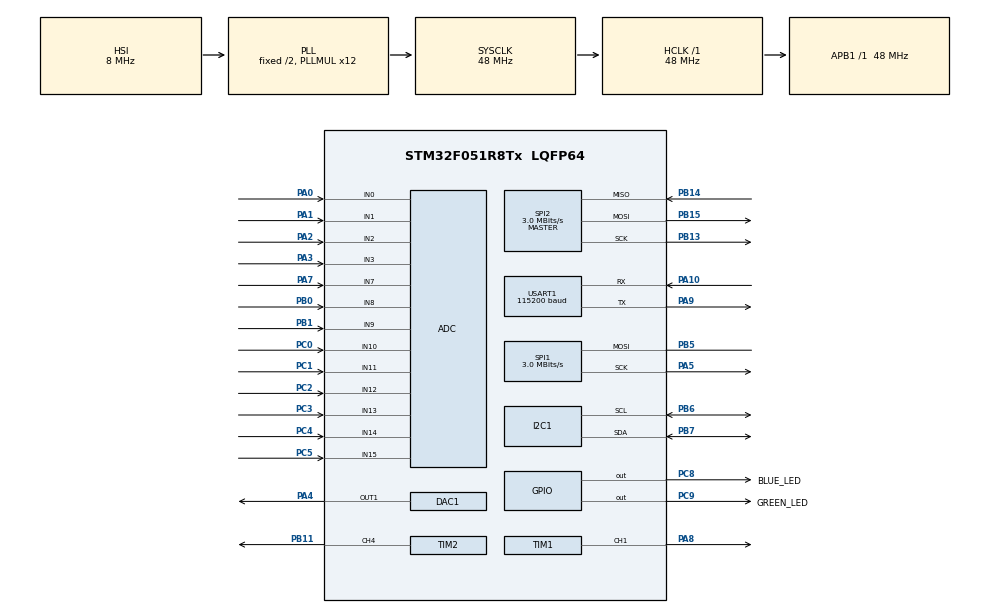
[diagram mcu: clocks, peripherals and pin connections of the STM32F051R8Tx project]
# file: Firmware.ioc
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DAC1.DAC_OutputBuffer=DAC_OUTPUTBUFFER_ENABLE
Dma.ADC.0.Direction=DMA_PERIPH_TO_MEMORY
Dma.ADC.0.Instance=DMA1_Channel1
Dma.ADC.0.MemDataAlignment=DMA_MDATAALIGN_HALFWORD
Dma.ADC.0.MemInc=DMA_MINC_ENABLE
Dma.ADC.0.Mode=DMA_NORMAL
Dma.ADC.0.PeriphDataAlignment=DMA_PDATAALIGN_HALFWORD
Dma.ADC.0.PeriphInc=DMA_PINC_DISABLE
Dma.ADC.0.Priority=DMA_PRIORITY_LOW
Dma.I2C1_RX.1.Direction=DMA_PERIPH_TO_MEMORY
Dma.I2C1_RX.1.Instance=DMA1_Channel3
Dma.I2C1_RX.1.MemDataAlignment=DMA_MDATAALIGN_BYTE
Dma.I2C1_RX.1.MemInc=DMA_MINC_ENABLE
Dma.I2C1_RX.1.Mode=DMA_NORMAL
Dma.I2C1_RX.1.PeriphDataAlignment=DMA_PDATAALIGN_BYTE
Dma.I2C1_RX.1.PeriphInc=DMA_PINC_DISABLE
Dma.I2C1_RX.1.Priority=DMA_PRIORITY_LOW
Dma.I2C1_TX.2.Direction=DMA_MEMORY_TO_PERIPH
Dma.I2C1_TX.2.Instance=DMA1_Channel2
Dma.I2C1_TX.2.MemDataAlignment=DMA_MDATAALIGN_BYTE
Dma.I2C1_TX.2.MemInc=DMA_MINC_ENABLE
Dma.I2C1_TX.2.Mode=DMA_NORMAL
Dma.I2C1_TX.2.PeriphDataAlignment=DMA_PDATAALIGN_BYTE
Dma.I2C1_TX.2.PeriphInc=DMA_PINC_DISABLE
Dma.I2C1_TX.2.Priority=DMA_PRIORITY_LOW
Dma.Request0=ADC
Dma.Request1=I2C1_RX
Dma.Request2=I2C1_TX
I2C1.I2C_Fall_Time=100
I2C1.I2C_Rise_Time=100
I2C1.Timing=0x00201D2B
Mcu.Family=STM32F0
Mcu.Name=STM32F051R8Tx
Mcu.Package=LQFP64
NVIC.DMA1_Channel1_IRQn=true\:0\:0\:false\:false\:true\:false\:true\:true
NVIC.DMA1_Channel2_3_IRQn=true\:0\:0\:false\:false\:true\:false\:true\:true
NVIC.TIM1_BRK_UP_TRG_COM_IRQn=true\:0\:0\:false\:false\:true\:true\:true\:true
NVIC.TIM1_CC_IRQn=true\:0\:0\:false\:false\:true\:true\:true\:true
NVIC.TIM2_IRQn=true\:0\:0\:false\:false\:true\:true\:true\:true
NVIC.USART1_IRQn=true\:0\:0\:false\:false\:true\:true\:true\:true
PA0.Mode=IN0
PA0.Signal=ADC_IN0
PA1.Mode=IN1
PA1.Signal=ADC_IN1
PA10.Mode=Asynchronous
PA10.Signal=USART1_RX
PA13.Mode=Serial_Wire
PA13.Signal=SYS_SWDIO
PA14.Mode=Serial_Wire
PA14.Signal=SYS_SWCLK
PA2.Mode=IN2
PA2.Signal=ADC_IN2
PA3.Mode=IN3
PA3.Signal=ADC_IN3
PA4.Signal=COMP_DAC11_group
PA5.Mode=Simplex_Bidirectional_Master
PA5.Signal=SPI1_SCK
PA6.Signal=SPI1_MISO
PA7.Mode=IN7
PA7.Signal=ADC_IN7
PA8.Signal=S_TIM1_CH1
PA9.Mode=Asynchronous
PA9.Signal=USART1_TX
PB0.Mode=IN8
PB0.Signal=ADC_IN8
PB1.Mode=IN9
PB1.Signal=ADC_IN9
PB11.Signal=S_TIM2_CH4
PB13.Mode=Full_Duplex_Master
PB13.Signal=SPI2_SCK
PB14.Mode=Full_Duplex_Master
PB14.Signal=SPI2_MISO
PB15.Mode=Full_Duplex_Master
PB15.Signal=SPI2_MOSI
PB5.Mode=Simplex_Bidirectional_Master
PB5.Signal=SPI1_MOSI
PB6.Mode=I2C
PB6.Signal=I2C1_SCL
PB7.Mode=I2C
PB7.Signal=I2C1_SDA
PC0.Mode=IN10
PC0.Signal=ADC_IN10
PC1.Mode=IN11
PC1.Signal=ADC_IN11
PC2.Mode=IN12
PC2.Signal=ADC_IN12
PC3.Mode=IN13
PC3.Signal=ADC_IN13
PC4.Mode=IN14
PC4.Signal=ADC_IN14
PC5.Mode=IN15
PC5.Signal=ADC_IN15
PC8.GPIO_Label=BLUE_LED
PC8.Signal=GPIO_Output
PC9.GPIO_Label=GREEN_LED
PC9.Signal=GPIO_Output
ProjectManager.HeapSize=0x200
ProjectManager.StackSize=0x400
ProjectManager.TargetToolchain=STM32CubeIDE
RCC.AHBFreq_Value=48000000
RCC.APB1Freq_Value=48000000
RCC.APB1TimFreq_Value=48000000
RCC.HCLKFreq_Value=48000000
RCC.PLLMUL=RCC_PLL_MUL12
RCC.SYSCLKFreq_VALUE=48000000
RCC.SYSCLKSource=RCC_SYSCLKSOURCE_PLLCLK
RCC.Usart1ClockSelection=RCC_USART1CLKSOURCE_HSI
SH.COMP_DAC11_group.0=DAC1_OUT1,DAC_OUT1
SH.S_TIM1_CH1.0=TIM1_CH1,Output Compare1 CH1
SH.S_TIM2_CH4.0=TIM2_CH4,Output Compare4 CH4
SPI1.BaudRatePrescaler=SPI_BAUDRATEPRESCALER_16
SPI1.CalculateBaudRate=3.0 MBits/s
SPI1.DataSize=SPI_DATASIZE_16BIT
SPI1.Direction=SPI_DIRECTION_1LINE
SPI1.Mode=SPI_MODE_MASTER
SPI1.VirtualType=VM_MASTER
SPI2.BaudRatePrescaler=SPI_BAUDRATEPRESCALER_16
SPI2.CalculateBaudRate=3.0 MBits/s
SPI2.DataSize=SPI_DATASIZE_16BIT
SPI2.Direction=SPI_DIRECTION_2LINES
SPI2.Mode=SPI_MODE_MASTER
SPI2.VirtualType=VM_MASTER
TIM1.AutoReloadPreload=TIM_AUTORELOAD_PRELOAD_ENABLE
TIM1.Channel-Output\ Compare1\ CH1=TIM_CHANNEL_1
TIM1.OCMode_1=TIM_OCMODE_TOGGLE
TIM1.Period=24000
TIM1.Prescaler=100 - 1
TIM1.Pulse-Output\ Compare1\ CH1=12000 - 1
TIM2.AutoReloadPreload=TIM_AUTORELOAD_PRELOAD_ENABLE
TIM2.Channel-Output\ Compare4\ CH4=TIM_CHANNEL_4
TIM2.OCMode_4=TIM_OCMODE_TOGGLE
TIM2.Period=30000 - 1
TIM2.Prescaler=100 - 1
TIM2.Pulse-Output\ Compare4\ CH4=6000 - 1
USART1.BaudRate=115200
USART1.VirtualMode-Asynchronous=VM_ASYNC
VP_TIM1_VS_ClockSourceINT.Mode=Internal
VP_TIM2_VS_ClockSourceINT.Mode=Internal
board=custom

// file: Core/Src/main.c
/* USER CODE BEGIN Header */
/**
  ******************************************************************************
  * @file           : main.c
  * @brief          : Main program body
  ******************************************************************************
  * @attention
  *
  * Copyright (c) 2022 STMicroelectronics.
  * All rights reserved.
  *
  * This software is licensed under terms that can be found in the LICENSE file
  * in the root directory of this software component.
  * If no LICENSE file comes with this software, it is provided AS-IS.
  *
  ******************************************************************************
  */
/* USER CODE END Header */
#include "main.h"

ADC_HandleTypeDef hadc;
DMA_HandleTypeDef hdma_adc;

DAC_HandleTypeDef hdac1;

I2C_HandleTypeDef hi2c1;
DMA_HandleTypeDef hdma_i2c1_rx;
DMA_HandleTypeDef hdma_i2c1_tx;

SPI_HandleTypeDef hspi1;
SPI_HandleTypeDef hspi2;

TIM_HandleTypeDef htim1;
TIM_HandleTypeDef htim2;

UART_HandleTypeDef huart1;

/* USER CODE BEGIN PV */
UART_WakeUpTypeDef WakeUpSelection;
uint8_t Rx_data[1];  //  creating a buffer of 1 bytes

/* USER CODE END PV */

void SystemClock_Config(void);
static void MX_GPIO_Init(void);
static void MX_DMA_Init(void);
static void MX_SPI2_Init(void);
static void MX_TIM1_Init(void);
static void MX_TIM2_Init(void);
static void MX_SPI1_Init(void);
static void MX_USART1_UART_Init(void);
static void MX_DAC1_Init(void);
static void MX_ADC_Init(void);
static void MX_I2C1_Init(void);

int main(void)
{

  /* MCU Configuration--------------------------------------------------------*/

  /* Reset of all peripherals, Initializes the Flash interface and the Systick. */
  HAL_Init();

  /* Configure the system clock */
  SystemClock_Config();

  /* Initialize all configured peripherals */
  MX_GPIO_Init();
  MX_DMA_Init();
  MX_SPI2_Init();
  MX_TIM1_Init();
  MX_TIM2_Init();
  MX_SPI1_Init();
  MX_USART1_UART_Init();
  MX_DAC1_Init();
  MX_ADC_Init();
  MX_I2C1_Init();
  /* USER CODE BEGIN 2 */
    HAL_DAC_Start(&hdac1, DAC_CHANNEL_1);

    /* Start Timers with OC & Interrupt */
    HAL_TIM_OC_Start_IT(&htim1, TIM_CHANNEL_1);
    HAL_TIM_OC_Start_IT(&htim2, TIM_CHANNEL_4);

    while (__HAL_UART_GET_FLAG(&huart1, USART_ISR_BUSY) == SET);
    while (__HAL_UART_GET_FLAG(&huart1, USART_ISR_REACK) == RESET);

    WakeUpSelection.WakeUpEvent = UART_WAKEUP_ON_ADDRESS;
    WakeUpSelection.AddressLength = UART_ADDRESS_DETECT_7B;
    WakeUpSelection.Address = 0x23; // send "£"

    if (HAL_UARTEx_StopModeWakeUpSourceConfig(&huart1, WakeUpSelection) != HAL_OK) {
        Error_Handler();
    }

    /* Enable the LPUART Wake UP from stop mode Interrupt */
    __HAL_UART_ENABLE_IT(&huart1, UART_IT_WUF);

    /* enable MCU wake-up by LPUART */
    HAL_UARTEx_EnableStopMode(&huart1);
  /* USER CODE END 2 */

  /* Infinite loop */
  /* USER CODE BEGIN WHILE */
    int counter = 0;
    uint8_t buf[13];
    while (1) {
        HAL_UART_Receive(&huart1, Rx_data, 1, 1000);
        if (Rx_data[0] == 's') { // should be "¶" in the future
            HAL_SuspendTick();
            HAL_PWR_EnterSTOPMode(PWR_LOWPOWERREGULATOR_ON, PWR_STOPENTRY_WFI);
            NVIC_SystemReset();
        }
        sprintf((char*)buf, "I am awake %d\r\n", counter);
        HAL_UART_Transmit(&huart1, buf, strlen((char*)buf), HAL_MAX_DELAY);
        counter++;
        if (counter > 99) {
        	counter = 0;
        }
    /* USER CODE END WHILE */

    }
}

void SystemClock_Config(void)
{
  RCC_OscInitTypeDef RCC_OscInitStruct = {0};
  RCC_ClkInitTypeDef RCC_ClkInitStruct = {0};
  RCC_PeriphCLKInitTypeDef PeriphClkInit = {0};

  /** Initializes the RCC Oscillators according to the specified parameters
  * in the RCC_OscInitTypeDef structure.
  */
  RCC_OscInitStruct.OscillatorType = RCC_OSCILLATORTYPE_HSI|RCC_OSCILLATORTYPE_HSI14;
  RCC_OscInitStruct.HSIState = RCC_HSI_ON;
  RCC_OscInitStruct.HSI14State = RCC_HSI14_ON;
  RCC_OscInitStruct.HSICalibrationValue = RCC_HSICALIBRATION_DEFAULT;
  RCC_OscInitStruct.HSI14CalibrationValue = 16;
  RCC_OscInitStruct.PLL.PLLState = RCC_PLL_ON;
  RCC_OscInitStruct.PLL.PLLSource = RCC_PLLSOURCE_HSI;
  RCC_OscInitStruct.PLL.PLLMUL = RCC_PLL_MUL12;
  RCC_OscInitStruct.PLL.PREDIV = RCC_PREDIV_DIV1;
  if (HAL_RCC_OscConfig(&RCC_OscInitStruct) != HAL_OK)
  {
    Error_Handler();
  }

  /** Initializes the CPU, AHB and APB buses clocks
  */
  RCC_ClkInitStruct.ClockType = RCC_CLOCKTYPE_HCLK|RCC_CLOCKTYPE_SYSCLK
                              |RCC_CLOCKTYPE_PCLK1;
  RCC_ClkInitStruct.SYSCLKSource = RCC_SYSCLKSOURCE_PLLCLK;
  RCC_ClkInitStruct.AHBCLKDivider = RCC_SYSCLK_DIV1;
  RCC_ClkInitStruct.APB1CLKDivider = RCC_HCLK_DIV1;

  if (HAL_RCC_ClockConfig(&RCC_ClkInitStruct, FLASH_LATENCY_1) != HAL_OK)
  {
    Error_Handler();
  }
  PeriphClkInit.PeriphClockSelection = RCC_PERIPHCLK_USART1|RCC_PERIPHCLK_I2C1;
  PeriphClkInit.Usart1ClockSelection = RCC_USART1CLKSOURCE_HSI;
  PeriphClkInit.I2c1ClockSelection = RCC_I2C1CLKSOURCE_HSI;
  if (HAL_RCCEx_PeriphCLKConfig(&PeriphClkInit) != HAL_OK)
  {
    Error_Handler();
  }
}

static void MX_ADC_Init(void)
{

  ADC_ChannelConfTypeDef sConfig = {0};

  /** Configure the global features of the ADC (Clock, Resolution, Data Alignment and number of conversion)
  */
  hadc.Instance = ADC1;
  hadc.Init.ClockPrescaler = ADC_CLOCK_ASYNC_DIV1;
  hadc.Init.Resolution = ADC_RESOLUTION_12B;
  hadc.Init.DataAlign = ADC_DATAALIGN_RIGHT;
  hadc.Init.ScanConvMode = ADC_SCAN_DIRECTION_FORWARD;
  hadc.Init.EOCSelection = ADC_EOC_SINGLE_CONV;
  hadc.Init.LowPowerAutoWait = DISABLE;
  hadc.Init.LowPowerAutoPowerOff = DISABLE;
  hadc.Init.ContinuousConvMode = DISABLE;
  hadc.Init.DiscontinuousConvMode = DISABLE;
  hadc.Init.ExternalTrigConv = ADC_SOFTWARE_START;
  hadc.Init.ExternalTrigConvEdge = ADC_EXTERNALTRIGCONVEDGE_NONE;
  hadc.Init.DMAContinuousRequests = DISABLE;
  hadc.Init.Overrun = ADC_OVR_DATA_PRESERVED;
  if (HAL_ADC_Init(&hadc) != HAL_OK)
  {
    Error_Handler();
  }

  /** Configure for the selected ADC regular channel to be converted.
  */
  sConfig.Channel = ADC_CHANNEL_0;
  sConfig.Rank = ADC_RANK_CHANNEL_NUMBER;
  sConfig.SamplingTime = ADC_SAMPLETIME_1CYCLE_5;
  if (HAL_ADC_ConfigChannel(&hadc, &sConfig) != HAL_OK)
  {
    Error_Handler();
  }

  /** Configure for the selected ADC regular channel to be converted.
  */
  sConfig.Channel = ADC_CHANNEL_1;
  if (HAL_ADC_ConfigChannel(&hadc, &sConfig) != HAL_OK)
  {
    Error_Handler();
  }

  /** Configure for the selected ADC regular channel to be converted.
  */
  sConfig.Channel = ADC_CHANNEL_2;
  if (HAL_ADC_ConfigChannel(&hadc, &sConfig) != HAL_OK)
  {
    Error_Handler();
  }

  /** Configure for the selected ADC regular channel to be converted.
  */
  sConfig.Channel = ADC_CHANNEL_3;
  if (HAL_ADC_ConfigChannel(&hadc, &sConfig) != HAL_OK)
  {
    Error_Handler();
  }

  /** Configure for the selected ADC regular channel to be converted.
  */
  sConfig.Channel = ADC_CHANNEL_7;
  if (HAL_ADC_ConfigChannel(&hadc, &sConfig) != HAL_OK)
  {
    Error_Handler();
  }

  /** Configure for the selected ADC regular channel to be converted.
  */
  sConfig.Channel = ADC_CHANNEL_8;
  if (HAL_ADC_ConfigChannel(&hadc, &sConfig) != HAL_OK)
  {
    Error_Handler();
  }

  /** Configure for the selected ADC regular channel to be converted.
  */
  sConfig.Channel = ADC_CHANNEL_9;
  if (HAL_ADC_ConfigChannel(&hadc, &sConfig) != HAL_OK)
  {
    Error_Handler();
  }

  /** Configure for the selected ADC regular channel to be converted.
  */
  sConfig.Channel = ADC_CHANNEL_10;
  if (HAL_ADC_ConfigChannel(&hadc, &sConfig) != HAL_OK)
  {
    Error_Handler();
  }

  /** Configure for the selected ADC regular channel to be converted.
  */
  sConfig.Channel = ADC_CHANNEL_11;
  if (HAL_ADC_ConfigChannel(&hadc, &sConfig) != HAL_OK)
  {
    Error_Handler();
  }

  /** Configure for the selected ADC regular channel to be converted.
  */
  sConfig.Channel = ADC_CHANNEL_12;
  if (HAL_ADC_ConfigChannel(&hadc, &sConfig) != HAL_OK)
  {
    Error_Handler();
  }

  /** Configure for the selected ADC regular channel to be converted.
  */
  sConfig.Channel = ADC_CHANNEL_13;
  if (HAL_ADC_ConfigChannel(&hadc, &sConfig) != HAL_OK)
  {
    Error_Handler();
  }

  /** Configure for the selected ADC regular channel to be converted.
  */
  sConfig.Channel = ADC_CHANNEL_14;
  if (HAL_ADC_ConfigChannel(&hadc, &sConfig) != HAL_OK)
  {
    Error_Handler();
  }

  /** Configure for the selected ADC regular channel to be converted.
  */
  sConfig.Channel = ADC_CHANNEL_15;
  if (HAL_ADC_ConfigChannel(&hadc, &sConfig) != HAL_OK)
  {
    Error_Handler();
  }

}

static void MX_DAC1_Init(void)
{

  DAC_ChannelConfTypeDef sConfig = {0};

  /** DAC Initialization
  */
  hdac1.Instance = DAC;
  if (HAL_DAC_Init(&hdac1) != HAL_OK)
  {
    Error_Handler();
  }

  /** DAC channel OUT1 config
  */
  sConfig.DAC_Trigger = DAC_TRIGGER_NONE;
  sConfig.DAC_OutputBuffer = DAC_OUTPUTBUFFER_ENABLE;
  if (HAL_DAC_ConfigChannel(&hdac1, &sConfig, DAC_CHANNEL_1) != HAL_OK)
  {
    Error_Handler();
  }

}

static void MX_I2C1_Init(void)
{

  hi2c1.Instance = I2C1;
  hi2c1.Init.Timing = 0x00201D2B;
  hi2c1.Init.OwnAddress1 = 0;
  hi2c1.Init.AddressingMode = I2C_ADDRESSINGMODE_7BIT;
  hi2c1.Init.DualAddressMode = I2C_DUALADDRESS_DISABLE;
  hi2c1.Init.OwnAddress2 = 0;
  hi2c1.Init.OwnAddress2Masks = I2C_OA2_NOMASK;
  hi2c1.Init.GeneralCallMode = I2C_GENERALCALL_DISABLE;
  hi2c1.Init.NoStretchMode = I2C_NOSTRETCH_DISABLE;
  if (HAL_I2C_Init(&hi2c1) != HAL_OK)
  {
    Error_Handler();
  }

  /** Configure Analogue filter
  */
  if (HAL_I2CEx_ConfigAnalogFilter(&hi2c1, I2C_ANALOGFILTER_ENABLE) != HAL_OK)
  {
    Error_Handler();
  }

  /** Configure Digital filter
  */
  if (HAL_I2CEx_ConfigDigitalFilter(&hi2c1, 0) != HAL_OK)
  {
    Error_Handler();
  }

}

static void MX_SPI1_Init(void)
{

  /* SPI1 parameter configuration*/
  hspi1.Instance = SPI1;
  hspi1.Init.Mode = SPI_MODE_MASTER;
  hspi1.Init.Direction = SPI_DIRECTION_1LINE;
  hspi1.Init.DataSize = SPI_DATASIZE_16BIT;
  hspi1.Init.CLKPolarity = SPI_POLARITY_LOW;
  hspi1.Init.CLKPhase = SPI_PHASE_1EDGE;
  hspi1.Init.NSS = SPI_NSS_SOFT;
  hspi1.Init.BaudRatePrescaler = SPI_BAUDRATEPRESCALER_16;
  hspi1.Init.FirstBit = SPI_FIRSTBIT_MSB;
  hspi1.Init.TIMode = SPI_TIMODE_DISABLE;
  hspi1.Init.CRCCalculation = SPI_CRCCALCULATION_DISABLE;
  hspi1.Init.CRCPolynomial = 7;
  hspi1.Init.CRCLength = SPI_CRC_LENGTH_DATASIZE;
  hspi1.Init.NSSPMode = SPI_NSS_PULSE_ENABLE;
  if (HAL_SPI_Init(&hspi1) != HAL_OK)
  {
    Error_Handler();
  }

}

static void MX_SPI2_Init(void)
{

  /* SPI2 parameter configuration*/
  hspi2.Instance = SPI2;
  hspi2.Init.Mode = SPI_MODE_MASTER;
  hspi2.Init.Direction = SPI_DIRECTION_2LINES;
  hspi2.Init.DataSize = SPI_DATASIZE_16BIT;
  hspi2.Init.CLKPolarity = SPI_POLARITY_LOW;
  hspi2.Init.CLKPhase = SPI_PHASE_1EDGE;
  hspi2.Init.NSS = SPI_NSS_SOFT;
  hspi2.Init.BaudRatePrescaler = SPI_BAUDRATEPRESCALER_16;
  hspi2.Init.FirstBit = SPI_FIRSTBIT_MSB;
  hspi2.Init.TIMode = SPI_TIMODE_DISABLE;
  hspi2.Init.CRCCalculation = SPI_CRCCALCULATION_DISABLE;
  hspi2.Init.CRCPolynomial = 7;
  hspi2.Init.CRCLength = SPI_CRC_LENGTH_DATASIZE;
  hspi2.Init.NSSPMode = SPI_NSS_PULSE_ENABLE;
  if (HAL_SPI_Init(&hspi2) != HAL_OK)
  {
    Error_Handler();
  }

}

static void MX_TIM1_Init(void)
{

  TIM_ClockConfigTypeDef sClockSourceConfig = {0};
  TIM_MasterConfigTypeDef sMasterConfig = {0};
  TIM_OC_InitTypeDef sConfigOC = {0};
  TIM_BreakDeadTimeConfigTypeDef sBreakDeadTimeConfig = {0};

  htim1.Instance = TIM1;
  htim1.Init.Prescaler = 100 - 1;
  htim1.Init.CounterMode = TIM_COUNTERMODE_UP;
  htim1.Init.Period = 24000;
  htim1.Init.ClockDivision = TIM_CLOCKDIVISION_DIV1;
  htim1.Init.RepetitionCounter = 0;
  htim1.Init.AutoReloadPreload = TIM_AUTORELOAD_PRELOAD_ENABLE;
  if (HAL_TIM_Base_Init(&htim1) != HAL_OK)
  {
    Error_Handler();
  }
  sClockSourceConfig.ClockSource = TIM_CLOCKSOURCE_INTERNAL;
  if (HAL_TIM_ConfigClockSource(&htim1, &sClockSourceConfig) != HAL_OK)
  {
    Error_Handler();
  }
  if (HAL_TIM_OC_Init(&htim1) != HAL_OK)
  {
    Error_Handler();
  }
  sMasterConfig.MasterOutputTrigger = TIM_TRGO_RESET;
  sMasterConfig.MasterSlaveMode = TIM_MASTERSLAVEMODE_DISABLE;
  if (HAL_TIMEx_MasterConfigSynchronization(&htim1, &sMasterConfig) != HAL_OK)
  {
    Error_Handler();
  }
  sConfigOC.OCMode = TIM_OCMODE_TOGGLE;
  sConfigOC.Pulse = 12000 - 1;
  sConfigOC.OCPolarity = TIM_OCPOLARITY_HIGH;
  sConfigOC.OCNPolarity = TIM_OCNPOLARITY_HIGH;
  sConfigOC.OCFastMode = TIM_OCFAST_DISABLE;
  sConfigOC.OCIdleState = TIM_OCIDLESTATE_RESET;
  sConfigOC.OCNIdleState = TIM_OCNIDLESTATE_RESET;
  if (HAL_TIM_OC_ConfigChannel(&htim1, &sConfigOC, TIM_CHANNEL_1) != HAL_OK)
  {
    Error_Handler();
  }
  sBreakDeadTimeConfig.OffStateRunMode = TIM_OSSR_DISABLE;
  sBreakDeadTimeConfig.OffStateIDLEMode = TIM_OSSI_DISABLE;
  sBreakDeadTimeConfig.LockLevel = TIM_LOCKLEVEL_OFF;
  sBreakDeadTimeConfig.DeadTime = 0;
  sBreakDeadTimeConfig.BreakState = TIM_BREAK_DISABLE;
  sBreakDeadTimeConfig.BreakPolarity = TIM_BREAKPOLARITY_HIGH;
  sBreakDeadTimeConfig.AutomaticOutput = TIM_AUTOMATICOUTPUT_DISABLE;
  if (HAL_TIMEx_ConfigBreakDeadTime(&htim1, &sBreakDeadTimeConfig) != HAL_OK)
  {
    Error_Handler();
  }
  HAL_TIM_MspPostInit(&htim1);

}

static void MX_TIM2_Init(void)
{

  TIM_ClockConfigTypeDef sClockSourceConfig = {0};
  TIM_MasterConfigTypeDef sMasterConfig = {0};
  TIM_OC_InitTypeDef sConfigOC = {0};

  htim2.Instance = TIM2;
  htim2.Init.Prescaler = 100 - 1;
  htim2.Init.CounterMode = TIM_COUNTERMODE_UP;
  htim2.Init.Period = 30000 - 1;
  htim2.Init.ClockDivision = TIM_CLOCKDIVISION_DIV1;
  htim2.Init.AutoReloadPreload = TIM_AUTORELOAD_PRELOAD_ENABLE;
  if (HAL_TIM_Base_Init(&htim2) != HAL_OK)
  {
    Error_Handler();
  }
  sClockSourceConfig.ClockSource = TIM_CLOCKSOURCE_INTERNAL;
  if (HAL_TIM_ConfigClockSource(&htim2, &sClockSourceConfig) != HAL_OK)
  {
    Error_Handler();
  }
  if (HAL_TIM_OC_Init(&htim2) != HAL_OK)
  {
    Error_Handler();
  }
  sMasterConfig.MasterOutputTrigger = TIM_TRGO_RESET;
  sMasterConfig.MasterSlaveMode = TIM_MASTERSLAVEMODE_DISABLE;
  if (HAL_TIMEx_MasterConfigSynchronization(&htim2, &sMasterConfig) != HAL_OK)
  {
    Error_Handler();
  }
  sConfigOC.OCMode = TIM_OCMODE_TOGGLE;
  sConfigOC.Pulse = 6000 - 1;
  sConfigOC.OCPolarity = TIM_OCPOLARITY_HIGH;
  sConfigOC.OCFastMode = TIM_OCFAST_DISABLE;
  if (HAL_TIM_OC_ConfigChannel(&htim2, &sConfigOC, TIM_CHANNEL_4) != HAL_OK)
  {
    Error_Handler();
  }
  HAL_TIM_MspPostInit(&htim2);

}

static void MX_USART1_UART_Init(void)
{

  huart1.Instance = USART1;
  huart1.Init.BaudRate = 115200;
  huart1.Init.WordLength = UART_WORDLENGTH_8B;
  huart1.Init.StopBits = UART_STOPBITS_1;
  huart1.Init.Parity = UART_PARITY_NONE;
  huart1.Init.Mode = UART_MODE_TX_RX;
  huart1.Init.HwFlowCtl = UART_HWCONTROL_NONE;
  huart1.Init.OverSampling = UART_OVERSAMPLING_16;
  huart1.Init.OneBitSampling = UART_ONE_BIT_SAMPLE_DISABLE;
  huart1.AdvancedInit.AdvFeatureInit = UART_ADVFEATURE_NO_INIT;
  if (HAL_UART_Init(&huart1) != HAL_OK)
  {
    Error_Handler();
  }

}

static void MX_DMA_Init(void)
{

  /* DMA controller clock enable */
  __HAL_RCC_DMA1_CLK_ENABLE();

  /* DMA interrupt init */
  /* DMA1_Channel1_IRQn interrupt configuration */
  HAL_NVIC_SetPriority(DMA1_Channel1_IRQn, 0, 0);
  HAL_NVIC_EnableIRQ(DMA1_Channel1_IRQn);
  /* DMA1_Channel2_3_IRQn interrupt configuration */
  HAL_NVIC_SetPriority(DMA1_Channel2_3_IRQn, 0, 0);
  HAL_NVIC_EnableIRQ(DMA1_Channel2_3_IRQn);

}

static void MX_GPIO_Init(void)
{
  GPIO_InitTypeDef GPIO_InitStruct = {0};

  /* GPIO Ports Clock Enable */
  __HAL_RCC_GPIOC_CLK_ENABLE();
  __HAL_RCC_GPIOA_CLK_ENABLE();
  __HAL_RCC_GPIOB_CLK_ENABLE();

  /*Configure GPIO pin Output Level */
  HAL_GPIO_WritePin(GPIOC, BLUE_LED_Pin|GREEN_LED_Pin, GPIO_PIN_RESET);

  /*Configure GPIO pins : BLUE_LED_Pin GREEN_LED_Pin */
  GPIO_InitStruct.Pin = BLUE_LED_Pin|GREEN_LED_Pin;
  GPIO_InitStruct.Mode = GPIO_MODE_OUTPUT_PP;
  GPIO_InitStruct.Pull = GPIO_NOPULL;
  GPIO_InitStruct.Speed = GPIO_SPEED_FREQ_LOW;
  HAL_GPIO_Init(GPIOC, &GPIO_InitStruct);

}

void Error_Handler(void)
{
    __disable_irq();
    while (1) {
    }
}
